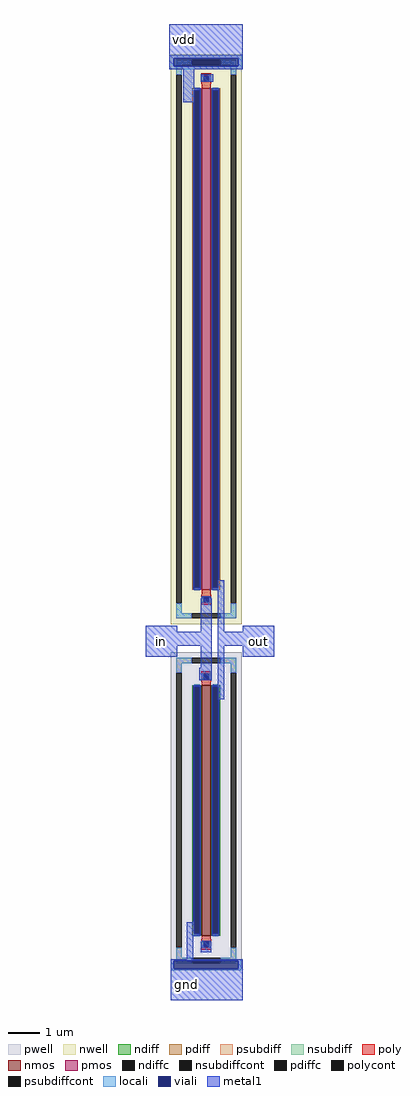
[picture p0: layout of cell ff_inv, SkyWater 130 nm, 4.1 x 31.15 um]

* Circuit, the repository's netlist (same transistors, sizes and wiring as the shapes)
* NGSPICE file created from ff_inv.ext - technology: sky130A

.subckt sky130_fd_pr__nfet_01v8_RMGWKL a_n190_n974# a_30_n800# a_n88_n800# a_n33_n888#
X0 a_30_n800# a_n33_n888# a_n88_n800# a_n190_n974# sky130_fd_pr__nfet_01v8 ad=2.32 pd=16.58 as=2.32 ps=16.58 w=8 l=0.3
.ends

.subckt sky130_fd_pr__pfet_01v8_XP7VY6 a_n33_n1697# a_n88_n1600# w_n226_n1819# a_30_n1600#
X0 a_30_n1600# a_n33_n1697# a_n88_n1600# w_n226_n1819# sky130_fd_pr__pfet_01v8 ad=4.64 pd=32.58 as=4.64 ps=32.58 w=16 l=0.3
.ends

.subckt ff_inv vdd in out gnd
XXM1 gnd out gnd in sky130_fd_pr__nfet_01v8_RMGWKL
XXM2 in vdd vdd out sky130_fd_pr__pfet_01v8_XP7VY6
.ends

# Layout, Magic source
magic
tech sky130A
magscale 1 2
<< locali >>
rect 2460 3620 2930 3640
rect 2460 3570 2490 3620
rect 2900 3570 2930 3620
rect 2460 3550 2930 3570
rect 2470 -2140 2920 -2130
rect 2470 -2190 2490 -2140
rect 2900 -2190 2920 -2140
rect 2470 -2200 2920 -2190
<< viali >>
rect 2490 3570 2900 3620
rect 2490 -2190 2900 -2140
<< metal1 >>
rect 2460 3620 2930 3840
rect 2460 3570 2490 3620
rect 2900 3570 2930 3620
rect 2460 3550 2930 3570
rect 2550 3340 2620 3550
rect 2660 3470 2740 3520
rect 2310 -40 2510 0
rect 2660 -40 2730 170
rect 2310 -130 2730 -40
rect 2310 -200 2510 -130
rect 2660 -270 2730 -130
rect 2650 -350 2730 -270
rect 2770 -40 2810 290
rect 2930 -40 3130 0
rect 2770 -130 3130 -40
rect 2770 -470 2810 -130
rect 2930 -200 3130 -130
rect 2572 -2130 2614 -1894
rect 2660 -2086 2728 -2018
rect 2470 -2140 2930 -2130
rect 2470 -2190 2490 -2140
rect 2900 -2190 2930 -2140
rect 2470 -2390 2930 -2190
use sky130_fd_pr__nfet_01v8_RMGWKL  XM1
transform 1 0 2696 0 1 -1180
box -226 -1010 226 1010
use sky130_fd_pr__pfet_01v8_XP7VY6  XM2
transform 1 0 2696 0 1 1829
box -226 -1819 226 1819
<< labels >>
flabel metal1 2460 3640 2660 3840 0 FreeSans 256 0 0 0 vdd
port 0 nsew
flabel metal1 2470 -2390 2670 -2190 0 FreeSans 256 0 0 0 gnd
port 3 nsew
flabel metal1 2310 -200 2510 0 0 FreeSans 256 0 0 0 in
port 1 nsew
flabel metal1 2930 -200 3130 0 0 FreeSans 256 0 0 0 out
port 2 nsew
<< end >>

# cell sky130_fd_pr__nfet_01v8_RMGWKL: kit device sky130_fd_pr__nfet_01v8, w 8.0 l 0.3 m 1 nf 1 diffcov 100 polycov 100 guard 1 glc 1 grc 1 gtc 1 gbc 1 tbcov 100 rlcov 100 topc 1 botc 1 poverlap 0 doverlap 1 lmin 0.15 wmin 0.42 compatible {sky130_fd_pr__nfet_01v8 sky130_fd_pr__nfet_01v8_lvt sky130_fd_bs_flash__special_sonosfet_star sky130_fd_pr__nfet_g5v0d10v5 sky130_fd_pr__nfet_05v0_nvt sky130_fd_pr__nfet_03v3_nvt} full_metal 1 viasrc 100 viadrn 100 viagate 100 viagb 0 viagr 0 viagl 0 viagt 0

# cell sky130_fd_pr__pfet_01v8_XP7VY6: kit device sky130_fd_pr__pfet_01v8, w 16.0 l 0.3 m 1 nf 1 diffcov 100 polycov 100 guard 1 glc 1 grc 1 gtc 1 gbc 1 tbcov 100 rlcov 100 topc 1 botc 1 poverlap 0 doverlap 1 lmin 0.15 wmin 0.42 compatible {sky130_fd_pr__pfet_01v8 sky130_fd_pr__pfet_01v8_lvt sky130_fd_pr__pfet_01v8_hvt sky130_fd_pr__pfet_g5v0d10v5} full_metal 1 viasrc 100 viadrn 100 viagate 100 viagb 0 viagr 0 viagl 0 viagt 0
